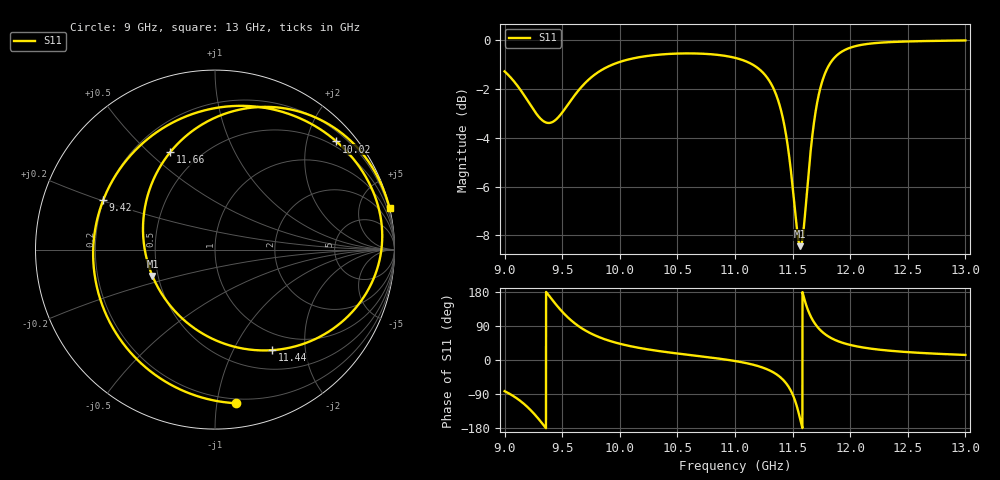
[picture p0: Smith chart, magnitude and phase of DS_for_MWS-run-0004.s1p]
! TOUCHSTONE file generated by CST DESIGN STUDIO
! Date and time: Tue Feb  4 18:09:22 2025
! Project name: C:\Work\MatlabApps\UnitCellOptimizationMatlab\CST\unitcell.cst
! Tree item: Tasks\Sweep1\SPara1\S-Parameters
! Header version: 2024
! Port assignment regex: !\s*Touchstone port\s*([0-9]+)\s*=\s*(CST MWS port|CST DES external port|CST DES block port)\s*(.+)\s* \(\"(.*)\"\)(\s*mode\s*([0-9]+))?.*
! Touchstone port assignment:
! Touchstone port 1 = CST DES external port 1 ("")
# GHz S MA R 50
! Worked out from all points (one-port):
!   4001 points, 9 GHz to 13 GHz, reference 50 ohm
!   lowest |S11| = -8.4 dB at 11.57 GHz (marker M1), VSWR 2.22, Z = 23.3 - j7.95 ohm
!   |S11| at or under -10 dB: nowhere
!   S11 on the Smith chart (normalised r, x): 9 GHz: 0.17, -1.13; 9.42 GHz: 0.20, +0.20; 10.02 GHz: 0.38, +2.58; 11.44 GHz: 0.75, -1.44; 11.66 GHz: 0.35, +0.58; 13 GHz: 0.00, +8.57
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9  0.864 -82.2
9.109  0.8087 -101.9
9.202  0.751 -125.1
9.319  0.6884 -164.5
9.42  0.6811 156.2
9.5  0.7113 127.5
9.584  0.758 102.9
9.679  0.8085 81.9
9.828  0.8656 59.4
10  0.9036 42.9
10.016  0.906 41.7
10.5  0.9399 17.1
11  0.9212 -2.7
11.28  0.8384 -24.7
11.368  0.7613 -39.4
11.441  0.6444 -60.4
11.5  0.5011 -90.6
11.533  0.4189 -118.2
11.567  0.3783 -157.2
11.61  0.4453 152.5
11.658  0.5973 114.7
11.706  0.7293 91.0
11.762  0.8311 72.9
11.865  0.9226 53.3
12  0.9663 39.8
12.196  0.9865 29.3
12.5  0.9953 20.8
13  1 13.3
